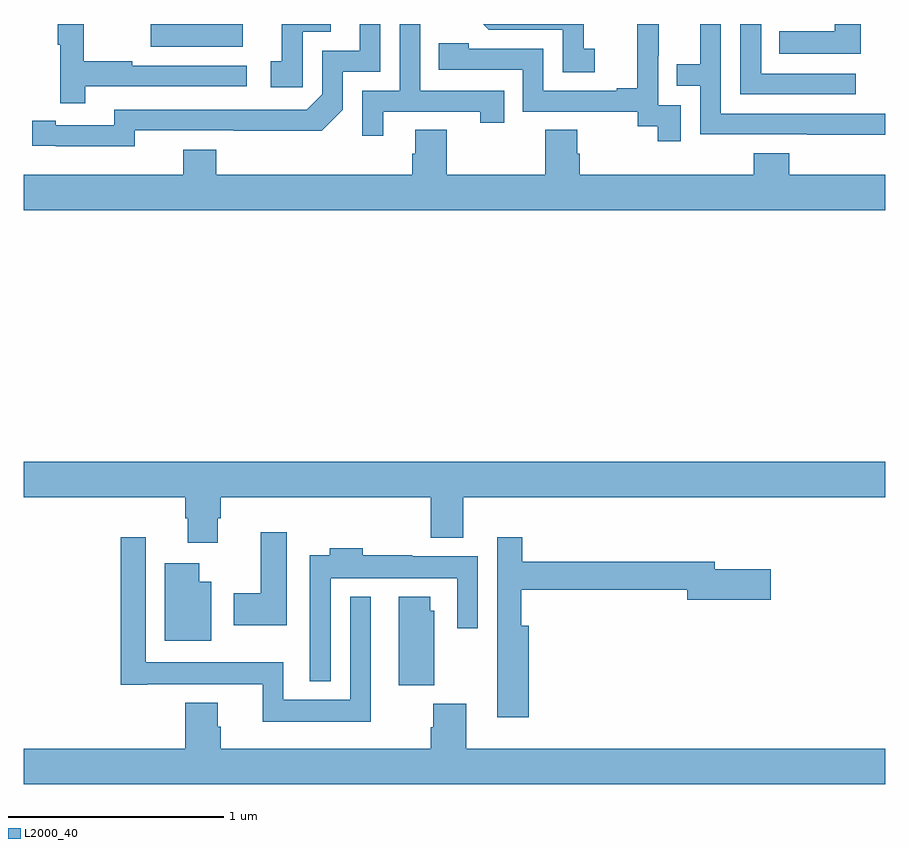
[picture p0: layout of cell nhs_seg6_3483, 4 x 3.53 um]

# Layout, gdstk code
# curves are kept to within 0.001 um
import gdstk
lib = gdstk.Library(unit=1e-6, precision=1e-09)
def P(c, l, *ps):  # polygons
    for p in ps: c.add(gdstk.Polygon(p, *l))
L2000_40 = (2000, 40)

nhs_seg6_3483 = lib.new_cell('nhs_seg6_3483')
P(nhs_seg6_3483, L2000_40, [(318.886,981.5),(318.765,981.5),(318.765,981.466),(318.508,981.466),(318.508,981.362),(318.886,981.362)],
  [(316.018,981.5),(315.734,981.5),(315.734,981.499),(315.591,981.499),(315.591,981.395),(316.018,981.395)],
  [(318.051,981.123),(317.946,981.123),(317.946,981.353),(317.948,981.353),(317.948,981.5),(317.848,981.5),(317.848,981.485),(317.849,981.485),(317.849,981.202),(317.753,981.202),(317.753,981.189),(317.412,981.189),(317.412,981.384),(317.067,981.384),(317.067,981.411),(316.927,981.411),(316.927,981.288),(317.316,981.288),(317.316,981.093),(317.85,981.093),(317.85,981.025),(317.943,981.025),(317.943,980.955),(318.051,980.955)],
  [(318.862,981.27),(318.423,981.27),(318.423,981.5),(318.327,981.5),(318.327,981.174),(318.862,981.174)],
  [(315.516,981.006),(316.384,981.005),(316.482,981.102),(316.482,981.279),(316.656,981.279),(316.656,981.5),(316.559,981.5),(316.559,981.375),(316.386,981.375),(316.386,981.174),(316.314,981.102),(315.42,981.102),(315.42,981.03),(315.148,981.03),(315.148,981.05),(315.04,981.05),(315.04,980.934),(315.516,980.933)],
  [(316.296,981.465),(316.425,981.465),(316.425,981.5),(316.199,981.5),(316.199,981.327),(316.146,981.327),(316.146,981.207),(316.296,981.207)],
  [(319,981.084),(318.237,981.084),(318.237,981.5),(318.141,981.5),(318.141,981.314),(318.031,981.314),(318.031,981.213),(318.141,981.213),(318.141,980.988),(318.637,980.988),(318.637,980.987),(319,980.987)],
  [(315.287,981.21),(316.036,981.21),(316.036,981.306),(315.503,981.306),(315.503,981.326),(315.28,981.326),(315.28,981.5),(315.159,981.5),(315.159,981.403),(315.17,981.403),(315.17,981.132),(315.287,981.132)],
  [(316.669,981.093),(317.12,981.093),(317.12,981.042),(317.231,981.042),(317.231,981.189),(316.842,981.189),(316.842,981.5),(316.746,981.5),(316.746,981.189),(316.572,981.189),(316.572,980.982),(316.669,980.982)],
  [(317.65,981.385),(317.601,981.385),(317.601,981.5),(317.134,981.5),(317.16,981.474),(317.502,981.474),(317.502,981.276),(317.65,981.276)],
  [(319,980.8),(318.554,980.8),(318.554,980.899),(318.389,980.899),(318.389,980.8),(317.582,980.8),(317.582,980.898),(317.569,980.898),(317.569,981.008),(317.422,981.008),(317.422,980.8),(316.965,980.8),(316.965,981.008),(316.817,981.008),(316.817,980.898),(316.805,980.898),(316.805,980.8),(315.893,980.8),(315.893,980.917),(315.74,980.917),(315.74,980.8),(315,980.8),(315,980.636),(319,980.636)],
  [(315.901,979.206),(315.914,979.206),(315.914,979.304),(316.889,979.304),(316.889,979.115),(317.041,979.115),(317.041,979.304),(319,979.304),(319,979.468),(315,979.468),(315,979.304),(315.749,979.304),(315.749,979.206),(315.761,979.206),(315.761,979.092),(315.901,979.092)],
  [(316.222,979.141),(316.1,979.141),(316.1,978.858),(315.975,978.858),(315.975,978.71),(316.222,978.71)],
  [(317.345,978.706),(317.311,978.706),(317.311,978.874),(318.08,978.874),(318.08,978.827),(318.469,978.827),(318.469,978.969),(318.208,978.969),(318.208,979.003),(317.315,979.003),(317.315,979.117),(317.199,979.117),(317.199,978.602),(317.198,978.602),(317.198,978.282),(317.345,978.282)],
  [(316.612,978.841),(316.515,978.841),(316.515,978.364),(316.206,978.364),(316.206,978.538),(315.567,978.538),(315.567,979.117),(315.451,979.117),(315.451,978.432),(315.574,978.432),(315.574,978.434),(316.109,978.434),(316.109,978.26),(316.612,978.26)],
  [(316.425,978.926),(317.013,978.926),(317.013,978.696),(317.109,978.696),(317.109,979.03),(316.805,979.03),(316.805,979.033),(316.574,979.033),(316.574,979.066),(316.421,979.066),(316.421,979.033),(316.329,979.033),(316.329,978.449),(316.425,978.449)],
  [(315.871,978.91),(315.814,978.91),(315.814,978.997),(315.656,978.997),(315.656,978.638),(315.871,978.638)],
  [(316.906,978.777),(316.888,978.777),(316.888,978.841),(316.742,978.841),(316.742,978.43),(316.906,978.43)],
  [(319,978.136),(317.054,978.136),(317.054,978.345),(316.901,978.345),(316.901,978.236),(316.889,978.236),(316.889,978.136),(315.914,978.136),(315.914,978.237),(315.901,978.237),(315.901,978.349),(315.749,978.349),(315.749,978.136),(315,978.136),(315,977.972),(319,977.972)])

lib.write_gds('nhs_seg6_3483.gds')
